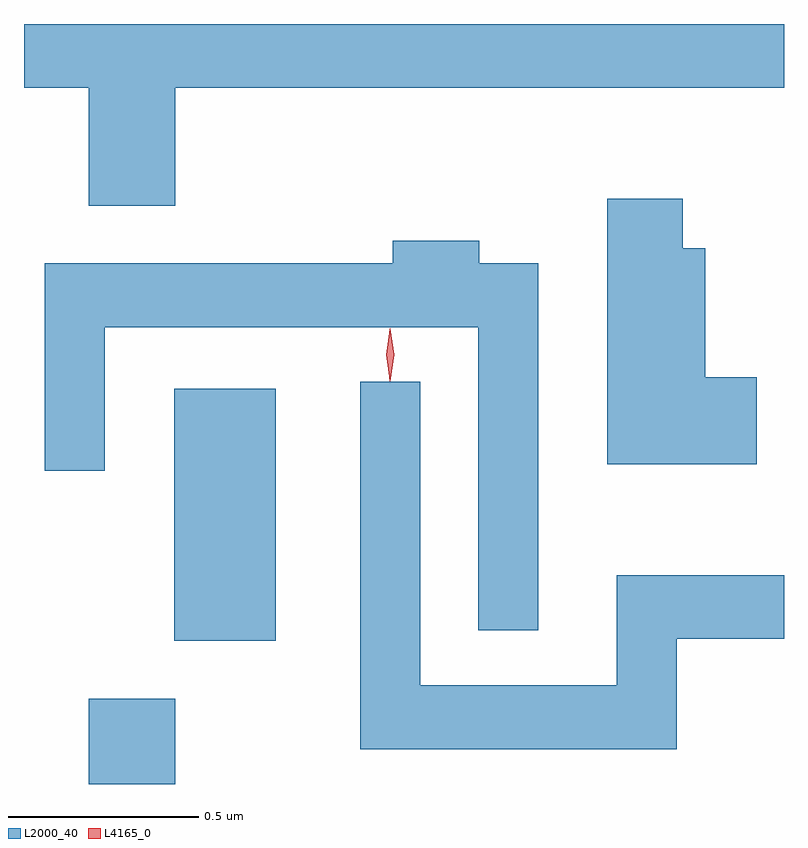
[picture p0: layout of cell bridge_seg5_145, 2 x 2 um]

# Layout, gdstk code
import gdstk
lib = gdstk.Library(unit=1e-6, precision=1e-09)
def R(c, l, rs):  # rectangles x0, y0, x1, y1
    for r in rs: c.add(gdstk.rectangle(r[:2], r[2:], *l))
def P(c, l, *ps):  # polygons
    for p in ps: c.add(gdstk.Polygon(p, *l))
L2000_40 = (2000, 40)
L4165_0 = (4165, 0)

bridge_seg5_145 = lib.new_cell('bridge_seg5_145')
R(bridge_seg5_145, L2000_40, [(1175.191,1417.224,1175.419,1417.449), (1175.416,1417.601,1175.684,1418.264)])
P(bridge_seg5_145, L2000_40, [(1175.419,1419.056),(1177.021,1419.056),(1177.021,1419.224),(1175.021,1419.224),(1175.021,1419.056),(1175.191,1419.056),(1175.191,1418.746),(1175.419,1418.746)],
  [(1176.949,1418.294),(1176.814,1418.294),(1176.814,1418.634),(1176.754,1418.634),(1176.754,1418.764),(1176.556,1418.764),(1176.556,1418.066),(1176.949,1418.066)],
  [(1176.374,1418.594),(1176.219,1418.594),(1176.219,1418.654),(1175.991,1418.654),(1175.991,1418.594),(1175.076,1418.594),(1175.076,1418.048),(1175.234,1418.048),(1175.234,1418.426),(1176.216,1418.426),(1176.216,1417.628),(1176.374,1417.628)],
  [(1176.739,1417.606),(1177.021,1417.606),(1177.021,1417.774),(1176.581,1417.774),(1176.581,1417.484),(1176.064,1417.484),(1176.064,1418.283),(1175.906,1418.283),(1175.906,1417.316),(1176.739,1417.316)])
P(bridge_seg5_145, L4165_0, [(1175.984,1418.287),(1175.984,1418.288),(1175.974,1418.354),(1175.984,1418.42),(1175.984,1418.42),(1175.985,1418.42),(1175.994,1418.354),(1175.985,1418.288)],
  [(1175.984,1418.284),(1175.975,1418.353),(1175.984,1418.422),(1175.985,1418.423),(1175.985,1418.422),(1175.995,1418.353),(1175.985,1418.284),(1175.985,1418.284)])

lib.write_gds('bridge_seg5_145.gds')
